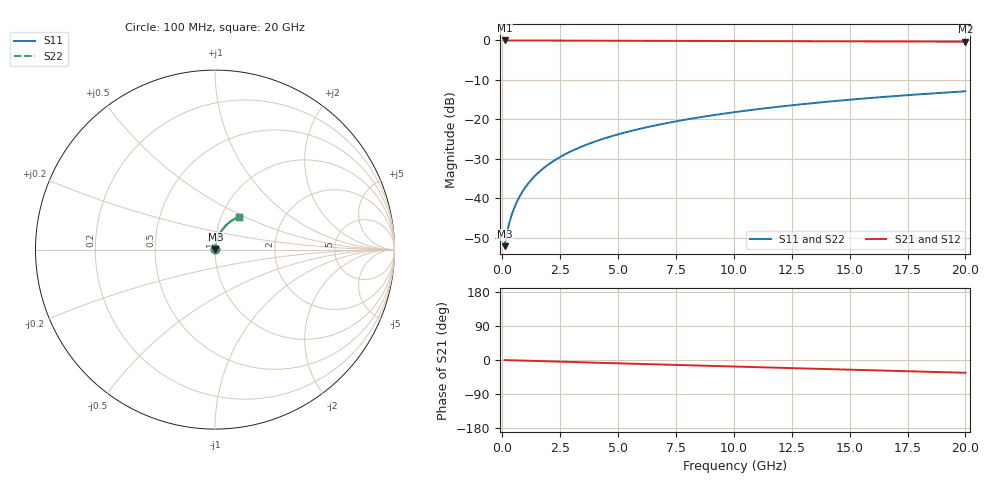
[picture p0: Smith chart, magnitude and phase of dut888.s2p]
! Touchstone file exported from HFSS 2026.1.0
!  File:  C:/ffzhzh/LocalFiles/Ansys_Project_Files/temp_train_BSMRDL_888_1783171185_43440.aedt
!  Generated:  09:20:59 PM Jul  4, 2026
!  Design:  BSMRDL
!  Project:  temp_train_BSMRDL_888_1783171185_43440
! Variables:
!  h_bsmrdl = 5.22um
!  h_ox = 20um
!  h_rdl = 5um
!  h_sub = 80um
!  h_tmrdl = 5um
!  h_tsv = 80um
!  h_via = 3um
!  l_bsmrdl = 542.06um
!  l_sub = 942.06um
!  l_tmrdl = 200um
!  m_sub = 200um
!  pitch = 37.01um
!  r_tsv = 6um
!  s_tmrdl = 10um
!  w_bsmrdl = 21.28um
!  w_sub = 500um
!  w_tmrdl = 12um
!  x_tsv_center1 = 206um
!  x_tsv_center2 = 769.34um
!  x_tsv_center3 = 981.34um
!  x_tsv_center4 = 1544.68um
!  x_tsv_center5 = 1756.68um
!  x_tsv_center6 = 2320.02um
# GHz S MA R 50.000000
! Terminal data exported
! Port[1] = BSM_RDL1_1_T1
! Port[2] = BSM_RDL1_1_T2
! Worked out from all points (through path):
!   200 points, 100 MHz to 20 GHz, reference 50 ohm
!   highest |S21| = -0.02 dB at 100 MHz (marker M1); lowest = -0.3 dB at 20 GHz (marker M2)
!   group delay of S21, straight-line fit = 4.67 ps
!   lowest |S11| = -52.2 dB at 100 MHz (marker M3), VSWR 1.00, Z = 50.2 + j0.155 ohm
!   |S11| at or under -10 dB: start of sweep to end of sweep
!   |S22| runs from -52.2 to -12.9 dB; largest |S21 - S12| = 4.1e-15
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0.1  0.002464 38.9  0.9981 -0.2  0.9981 -0.2  0.002464 38.9
! Gamma 0 0 0 0
! Port Impedance 50 0 50 0
0.2  0.003621 54.7  0.9979 -0.4  0.9979 -0.4  0.003621 54.7
0.3  0.004832 62.4  0.9978 -0.6  0.9978 -0.6  0.004831 62.4
0.4  0.006063 67.2  0.9977 -0.7  0.9977 -0.7  0.006063 67.2
0.5  0.007316 70.5  0.9976 -0.9  0.9976 -0.9  0.007316 70.5
0.6  0.008587 72.8  0.9976 -1.1  0.9976 -1.1  0.008587 72.8
0.8  0.01117 75.8  0.9975 -1.4  0.9975 -1.4  0.01117 75.8
1.1  0.01508 78.1  0.9973 -2.0  0.9973 -2.0  0.01508 78.1
1.3  0.0177 78.9  0.9971 -2.3  0.9971 -2.3  0.0177 78.9
1.6  0.02163 79.5  0.9969 -2.9  0.9969 -2.9  0.02163 79.5
2.1  0.02813 79.7  0.9964 -3.7  0.9964 -3.7  0.02813 79.7
2.7  0.03584 79.4  0.9957 -4.8  0.9957 -4.8  0.03584 79.4
3.5  0.04594 78.5  0.9947 -6.2  0.9947 -6.2  0.04594 78.5
4.2  0.05462 77.6  0.9938 -7.4  0.9938 -7.4  0.05462 77.6
5  0.06439 76.5  0.9926 -8.8  0.9926 -8.8  0.06439 76.5
5.9  0.07522 75.2  0.9913 -10.3  0.9913 -10.3  0.07522 75.2
6.8  0.0859 73.9  0.9899 -11.8  0.9899 -11.8  0.0859 73.9
8.3  0.1034 71.7  0.9875 -14.4  0.9875 -14.4  0.1034 71.7
10.1  0.1239 69.0  0.9844 -17.4  0.9844 -17.4  0.1239 69.0
13.4  0.1602 63.9  0.9781 -22.9  0.9781 -22.9  0.1602 63.9
16.7  0.1944 58.8  0.9711 -28.4  0.9711 -28.4  0.1944 58.8
20  0.2262 53.7  0.9635 -33.7  0.9635 -33.7  0.2262 53.7
